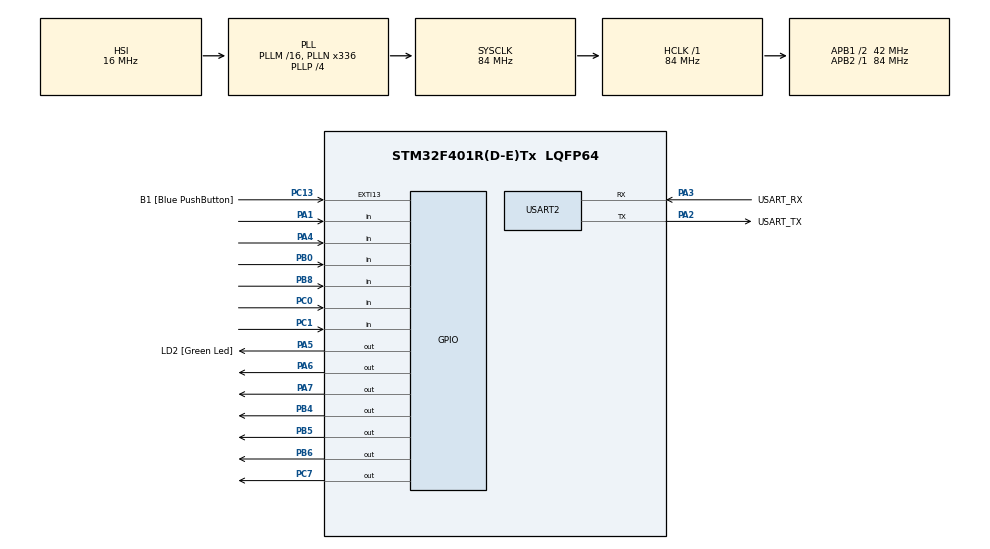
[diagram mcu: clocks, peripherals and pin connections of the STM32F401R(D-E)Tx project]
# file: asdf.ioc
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Mcu.Family=STM32F4
Mcu.Name=STM32F401R(D-E)Tx
Mcu.Package=LQFP64
NVIC.PriorityGroup=NVIC_PRIORITYGROUP_0
PA1.GPIO_PuPd=GPIO_PULLDOWN
PA1.Signal=GPIO_Input
PA13.GPIO_Label=TMS
PA13.Mode=Trace_Asynchronous_SW
PA13.Signal=SYS_JTMS-SWDIO
PA14.GPIO_Label=TCK
PA14.Mode=Trace_Asynchronous_SW
PA14.Signal=SYS_JTCK-SWCLK
PA2.GPIO_Label=USART_TX
PA2.GPIO_Mode=GPIO_MODE_AF_PP
PA2.GPIO_PuPd=GPIO_NOPULL
PA2.GPIO_Speed=GPIO_SPEED_FREQ_LOW
PA2.Mode=Asynchronous
PA2.Signal=USART2_TX
PA3.GPIO_Label=USART_RX
PA3.GPIO_Mode=GPIO_MODE_AF_PP
PA3.GPIO_PuPd=GPIO_NOPULL
PA3.GPIO_Speed=GPIO_SPEED_FREQ_LOW
PA3.Mode=Asynchronous
PA3.Signal=USART2_RX
PA4.GPIO_PuPd=GPIO_PULLDOWN
PA4.Signal=GPIO_Input
PA5.GPIO_Label=LD2 [Green Led]
PA5.GPIO_Mode=GPIO_MODE_OUTPUT_PP
PA5.GPIO_PuPd=GPIO_NOPULL
PA5.GPIO_Speed=GPIO_SPEED_FREQ_LOW
PA5.Signal=GPIO_Output
PA6.Signal=GPIO_Output
PA7.Signal=GPIO_Output
PB0.GPIO_PuPd=GPIO_PULLDOWN
PB0.Signal=GPIO_Input
PB3.GPIO_Label=SWO
PB3.Mode=Trace_Asynchronous_SW
PB3.Signal=SYS_JTDO-SWO
PB4.Signal=GPIO_Output
PB5.Signal=GPIO_Output
PB6.Signal=GPIO_Output
PB8.GPIO_PuPd=GPIO_PULLDOWN
PB8.Signal=GPIO_Input
PC0.GPIO_PuPd=GPIO_PULLDOWN
PC0.Signal=GPIO_Input
PC1.GPIO_PuPd=GPIO_PULLDOWN
PC1.Signal=GPIO_Input
PC13-ANTI_TAMP.GPIO_Label=B1 [Blue PushButton]
PC13-ANTI_TAMP.GPIO_ModeDefaultEXTI=GPIO_MODE_IT_FALLING
PC13-ANTI_TAMP.GPIO_PuPd=GPIO_NOPULL
PC13-ANTI_TAMP.Signal=GPXTI13
PC14-OSC32_IN.Mode=LSE-External-Oscillator
PC14-OSC32_IN.Signal=RCC_OSC32_IN
PC15-OSC32_OUT.Mode=LSE-External-Oscillator
PC15-OSC32_OUT.Signal=RCC_OSC32_OUT
PC7.Signal=GPIO_Output
PH0\ -\ OSC_IN.Mode=HSE-External-Clock-Source
PH0\ -\ OSC_IN.Signal=RCC_OSC_IN
PH1\ -\ OSC_OUT.Mode=HSE-External-Clock-Source
PH1\ -\ OSC_OUT.Signal=RCC_OSC_OUT
ProjectManager.HeapSize=0x200
ProjectManager.StackSize=0x400
ProjectManager.TargetToolchain=STM32CubeIDE
RCC.48MHZClocksFreq_Value=48000000
RCC.AHBFreq_Value=84000000
RCC.APB1CLKDivider=RCC_HCLK_DIV2
RCC.APB1Freq_Value=42000000
RCC.APB1TimFreq_Value=84000000
RCC.APB2Freq_Value=84000000
RCC.APB2TimFreq_Value=84000000
RCC.CortexFreq_Value=84000000
RCC.HCLKFreq_Value=84000000
RCC.HSE_VALUE=8000000
RCC.HSI_VALUE=16000000
RCC.PLLN=336
RCC.PLLP=RCC_PLLP_DIV4
RCC.PLLQ=7
RCC.SYSCLKFreq_VALUE=84000000
RCC.SYSCLKSource=RCC_SYSCLKSOURCE_PLLCLK
RCC.VCOOutputFreq_Value=336000000
USART2.VirtualMode=VM_ASYNC
board=NUCLEO-F401RE

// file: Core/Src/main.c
/* USER CODE BEGIN Header */
/**
  ******************************************************************************
  * @file           : main.c
  * @brief          : Main program body
  ******************************************************************************
  * @attention
  *
  * Copyright (c) 2024 STMicroelectronics.
  * All rights reserved.
  *
  * This software is licensed under terms that can be found in the LICENSE file
  * in the root directory of this software component.
  * If no LICENSE file comes with this software, it is provided AS-IS.
  *
  ******************************************************************************
  */
/* USER CODE END Header */
#include "main.h"

/* USER CODE BEGIN Includes */
#include "lcd.h"
//#include "lcd.c"
#include "stdio.h"
/* USER CODE END Includes */

UART_HandleTypeDef huart2;

void SystemClock_Config(void);
static void MX_GPIO_Init(void);
static void MX_USART2_UART_Init(void);
/* USER CODE BEGIN PFP */
long num1;
 long num2;
 long num3;
 long num4;
 long num5;
 int button;
 char letters[21] = {'A', 'B', 'E', 'D', 'E', 'F', 'G', 'H', 'I', 'L', 'N', '0', 'P', 'R', 'S', 'T', 'U', 'W', 'Y', 'C', 'Z'};
 int data = 0;
 int numbers[21] = {1111, 10000, 0, 10111, 11111, 11000, 10110, 11010, 11110, 111, 1010, 110, 11, 10011, 10, 11011, 11001, 10001, 1110, 1000, 1};
 char letter;
 int pos = 0;
/* USER CODE END PFP */

/* USER CODE BEGIN 0 */
/* USER CODE BEGIN Includes */
/* USER CODE END Includes */

/* USER CODE END 0 */

int main(void)
{

  /* MCU Configuration--------------------------------------------------------*/

  /* Reset of all peripherals, Initializes the Flash interface and the Systick. */
  HAL_Init();

  /* Configure the system clock */
  SystemClock_Config();

  /* Initialize all configured peripherals */
  MX_GPIO_Init();
  MX_USART2_UART_Init();
  /* USER CODE BEGIN 2 */
  /* USER CODE BEGIN 2 */
    // Lcd_PortType ports[] = { D4_GPIO_Port, D5_GPIO_Port, D6_GPIO_Port, D7_GPIO_Port };
    Lcd_PortType ports[] = { GPIOC, GPIOB, GPIOA, GPIOA };
    // Lcd_PinType pins[] = {D4_Pin, D5_Pin, D6_Pin, D7_Pin};
    Lcd_PinType pins[] = {GPIO_PIN_7, GPIO_PIN_6, GPIO_PIN_7, GPIO_PIN_6};
    Lcd_HandleTypeDef lcd;
    // Lcd_create(ports, pins, RS_GPIO_Port, RS_Pin, EN_GPIO_Port, EN_Pin, LCD_4_BIT_MODE);
    lcd = Lcd_create(ports, pins, GPIOB, GPIO_PIN_5, GPIOB, GPIO_PIN_4, LCD_4_BIT_MODE);

  /* USER CODE END 2 */

  /* Infinite loop */
  /* USER CODE BEGIN WHILE */
   int count = 0;
  while (1)
  {
	  button = HAL_GPIO_ReadPin (GPIOB, GPIO_PIN_8);
		  if(1){
			  num1 = HAL_GPIO_ReadPin (GPIOA, GPIO_PIN_1);
			  num2 = HAL_GPIO_ReadPin (GPIOA, GPIO_PIN_4);
			  num3 = HAL_GPIO_ReadPin (GPIOB, GPIO_PIN_0);
			  num4 = HAL_GPIO_ReadPin (GPIOC, GPIO_PIN_1);
			  num5 = HAL_GPIO_ReadPin (GPIOC, GPIO_PIN_0);
			  data = 10000*num1 + 1000*num2 + 100*num3 + 10*num4 + num5;
			   for (int i = 0; i < 21; i++) {
					       if (data == numbers[i]) {
					           letter = letters[i];
					       }
			 }
			   Lcd_string(&lcd, &letter);
			   Lcd_cursor(&lcd, 0, pos);

			 if(button){
				 count++;
				 if (count>5){
					 Lcd_clear(&lcd);
					 pos = -1;
				 }
				 pos++;
				 HAL_Delay(500);
			 }
			 else{
			 count = 0;
			 }

	//		   HAL_Delay(500);

//		  }
    /* USER CODE END WHILE */

  }
  }
}

void SystemClock_Config(void)
{
  RCC_OscInitTypeDef RCC_OscInitStruct = {0};
  RCC_ClkInitTypeDef RCC_ClkInitStruct = {0};

  /** Configure the main internal regulator output voltage
  */
  __HAL_RCC_PWR_CLK_ENABLE();
  __HAL_PWR_VOLTAGESCALING_CONFIG(PWR_REGULATOR_VOLTAGE_SCALE2);

  /** Initializes the RCC Oscillators according to the specified parameters
  * in the RCC_OscInitTypeDef structure.
  */
  RCC_OscInitStruct.OscillatorType = RCC_OSCILLATORTYPE_HSI;
  RCC_OscInitStruct.HSIState = RCC_HSI_ON;
  RCC_OscInitStruct.HSICalibrationValue = RCC_HSICALIBRATION_DEFAULT;
  RCC_OscInitStruct.PLL.PLLState = RCC_PLL_ON;
  RCC_OscInitStruct.PLL.PLLSource = RCC_PLLSOURCE_HSI;
  RCC_OscInitStruct.PLL.PLLM = 16;
  RCC_OscInitStruct.PLL.PLLN = 336;
  RCC_OscInitStruct.PLL.PLLP = RCC_PLLP_DIV4;
  RCC_OscInitStruct.PLL.PLLQ = 7;
  if (HAL_RCC_OscConfig(&RCC_OscInitStruct) != HAL_OK)
  {
    Error_Handler();
  }

  /** Initializes the CPU, AHB and APB buses clocks
  */
  RCC_ClkInitStruct.ClockType = RCC_CLOCKTYPE_HCLK|RCC_CLOCKTYPE_SYSCLK
                              |RCC_CLOCKTYPE_PCLK1|RCC_CLOCKTYPE_PCLK2;
  RCC_ClkInitStruct.SYSCLKSource = RCC_SYSCLKSOURCE_PLLCLK;
  RCC_ClkInitStruct.AHBCLKDivider = RCC_SYSCLK_DIV1;
  RCC_ClkInitStruct.APB1CLKDivider = RCC_HCLK_DIV2;
  RCC_ClkInitStruct.APB2CLKDivider = RCC_HCLK_DIV1;

  if (HAL_RCC_ClockConfig(&RCC_ClkInitStruct, FLASH_LATENCY_2) != HAL_OK)
  {
    Error_Handler();
  }
}

static void MX_USART2_UART_Init(void)
{

  huart2.Instance = USART2;
  huart2.Init.BaudRate = 115200;
  huart2.Init.WordLength = UART_WORDLENGTH_8B;
  huart2.Init.StopBits = UART_STOPBITS_1;
  huart2.Init.Parity = UART_PARITY_NONE;
  huart2.Init.Mode = UART_MODE_TX_RX;
  huart2.Init.HwFlowCtl = UART_HWCONTROL_NONE;
  huart2.Init.OverSampling = UART_OVERSAMPLING_16;
  if (HAL_UART_Init(&huart2) != HAL_OK)
  {
    Error_Handler();
  }

}

static void MX_GPIO_Init(void)
{
  GPIO_InitTypeDef GPIO_InitStruct = {0};

  /* GPIO Ports Clock Enable */
  __HAL_RCC_GPIOC_CLK_ENABLE();
  __HAL_RCC_GPIOH_CLK_ENABLE();
  __HAL_RCC_GPIOA_CLK_ENABLE();
  __HAL_RCC_GPIOB_CLK_ENABLE();

  /*Configure GPIO pin Output Level */
  HAL_GPIO_WritePin(GPIOA, LD2_Pin|GPIO_PIN_6|GPIO_PIN_7, GPIO_PIN_RESET);

  /*Configure GPIO pin Output Level */
  HAL_GPIO_WritePin(GPIOC, GPIO_PIN_7, GPIO_PIN_RESET);

  /*Configure GPIO pin Output Level */
  HAL_GPIO_WritePin(GPIOB, GPIO_PIN_4|GPIO_PIN_5|GPIO_PIN_6, GPIO_PIN_RESET);

  /*Configure GPIO pin : B1_Pin */
  GPIO_InitStruct.Pin = B1_Pin;
  GPIO_InitStruct.Mode = GPIO_MODE_IT_FALLING;
  GPIO_InitStruct.Pull = GPIO_NOPULL;
  HAL_GPIO_Init(B1_GPIO_Port, &GPIO_InitStruct);

  /*Configure GPIO pins : PC0 PC1 */
  GPIO_InitStruct.Pin = GPIO_PIN_0|GPIO_PIN_1;
  GPIO_InitStruct.Mode = GPIO_MODE_INPUT;
  GPIO_InitStruct.Pull = GPIO_PULLDOWN;
  HAL_GPIO_Init(GPIOC, &GPIO_InitStruct);

  /*Configure GPIO pins : PA1 PA4 */
  GPIO_InitStruct.Pin = GPIO_PIN_1|GPIO_PIN_4;
  GPIO_InitStruct.Mode = GPIO_MODE_INPUT;
  GPIO_InitStruct.Pull = GPIO_PULLDOWN;
  HAL_GPIO_Init(GPIOA, &GPIO_InitStruct);

  /*Configure GPIO pins : LD2_Pin PA6 PA7 */
  GPIO_InitStruct.Pin = LD2_Pin|GPIO_PIN_6|GPIO_PIN_7;
  GPIO_InitStruct.Mode = GPIO_MODE_OUTPUT_PP;
  GPIO_InitStruct.Pull = GPIO_NOPULL;
  GPIO_InitStruct.Speed = GPIO_SPEED_FREQ_LOW;
  HAL_GPIO_Init(GPIOA, &GPIO_InitStruct);

  /*Configure GPIO pins : PB0 PB8 */
  GPIO_InitStruct.Pin = GPIO_PIN_0|GPIO_PIN_8;
  GPIO_InitStruct.Mode = GPIO_MODE_INPUT;
  GPIO_InitStruct.Pull = GPIO_PULLDOWN;
  HAL_GPIO_Init(GPIOB, &GPIO_InitStruct);

  /*Configure GPIO pin : PC7 */
  GPIO_InitStruct.Pin = GPIO_PIN_7;
  GPIO_InitStruct.Mode = GPIO_MODE_OUTPUT_PP;
  GPIO_InitStruct.Pull = GPIO_NOPULL;
  GPIO_InitStruct.Speed = GPIO_SPEED_FREQ_LOW;
  HAL_GPIO_Init(GPIOC, &GPIO_InitStruct);

  /*Configure GPIO pins : PB4 PB5 PB6 */
  GPIO_InitStruct.Pin = GPIO_PIN_4|GPIO_PIN_5|GPIO_PIN_6;
  GPIO_InitStruct.Mode = GPIO_MODE_OUTPUT_PP;
  GPIO_InitStruct.Pull = GPIO_NOPULL;
  GPIO_InitStruct.Speed = GPIO_SPEED_FREQ_LOW;
  HAL_GPIO_Init(GPIOB, &GPIO_InitStruct);

}

void Error_Handler(void)
{
  __disable_irq();
  while (1)
  {
  }
}
